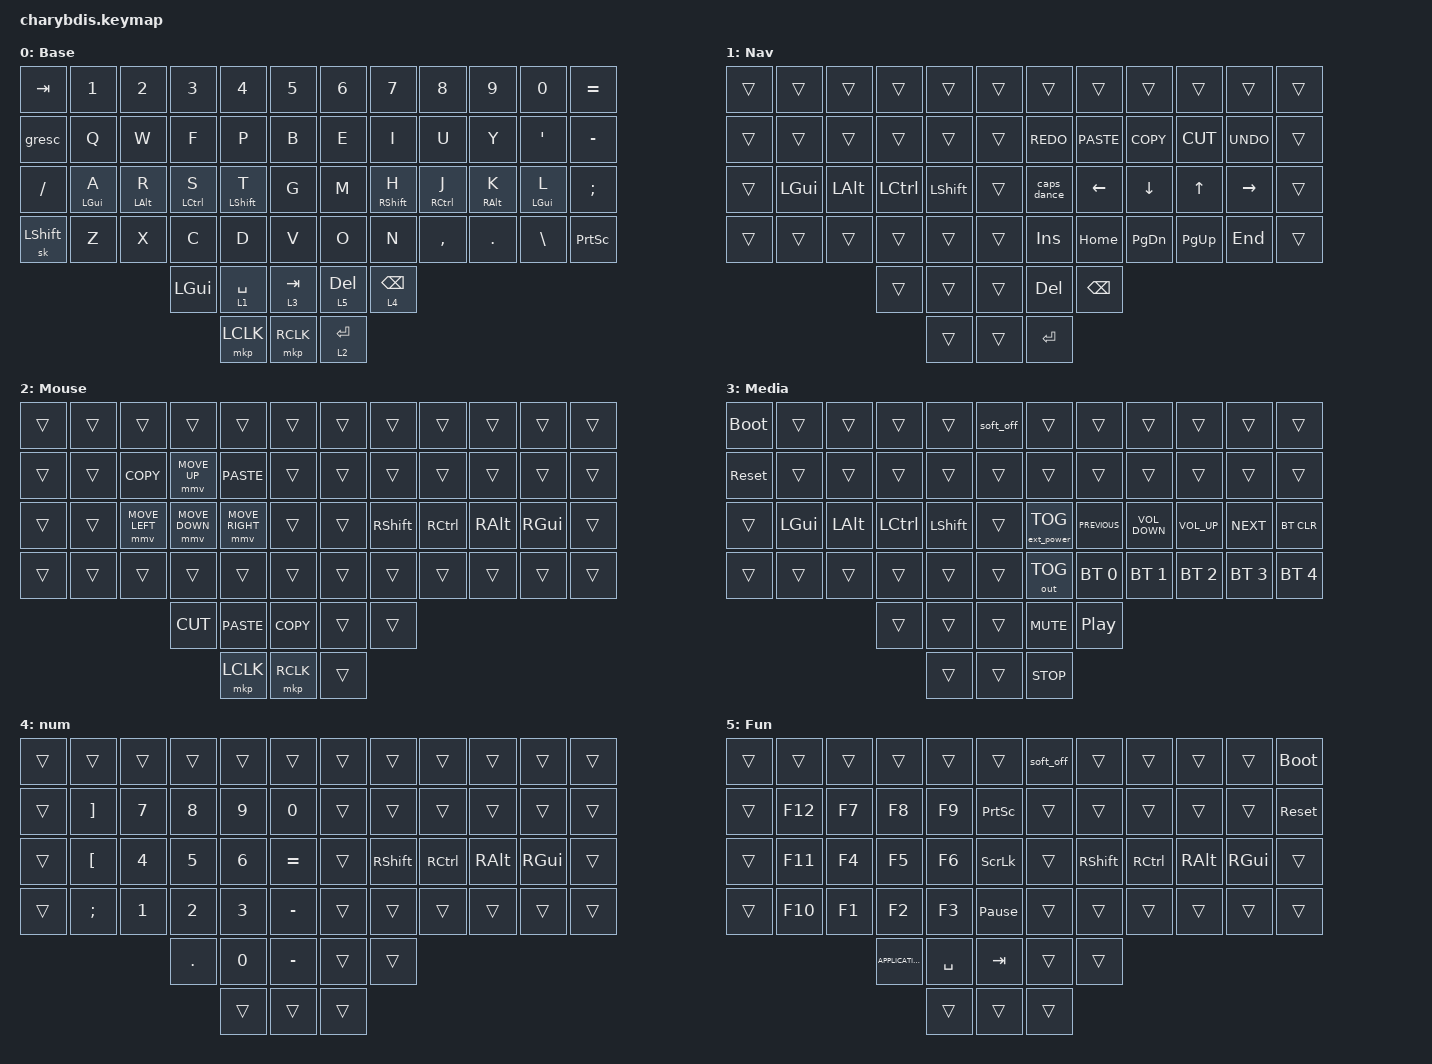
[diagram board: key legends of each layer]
#define ZMK_POINTING_DEFAULT_MOVE_VAL 900  // default: 600
#define ZMK_POINTING_DEFAULT_SCRL_VAL 20    // default: 10

#include <dt-bindings/zmk/mouse.h>
#include <behaviors/mouse_keys.dtsi>
#include <behaviors.dtsi>
#include <dt-bindings/zmk/bt.h>
#include <dt-bindings/zmk/ext_power.h>
#include <dt-bindings/zmk/keys.h>
#include <dt-bindings/zmk/outputs.h>
#include <dt-bindings/zmk/pointing.h>

/ {
    chosen { zmk,matrix_transform = &default_transform; };
};


&lt {
    quick-tap-ms = <175>;
    global-quick-tap;
    flavor = "hold-preferred";
    tapping-term-ms = <200>;
    require-prior-idle-ms=<150>;
};

&caps_word {
    continue-list = <UNDERSCORE MINUS BACKSPACE DELETE>;
};

/ {
    combos {
        compatible = "zmk,combos";

        combo_esc {
            timeout-ms = <50>;
            key-positions = <31 32>;
            bindings = <&kp ESC>;
            require-prior-idle-ms=<150>;
        };
    };

    behaviors {
        gresc: grave_escape {
            compatible = "zmk,behavior-mod-morph";
            #binding-cells = <0>;
            bindings = <&kp ESC>, <&kp GRAVE>;
            mods = <(MOD_LGUI|MOD_LSFT|MOD_RGUI|MOD_RSFT|MOD_LALT|MOD_RALT)>;
            keep-mods = <(MOD_LSFT|MOD_RSFT)>;
        };

        
		mtl: home_row_mod_left {
				compatible = "zmk,behavior-hold-tap";
                #binding-cells = <2>;
				tapping-term-ms = <280>;
				quick-tap-ms = <175>;
				global-quick-tap;
				flavor = "balanced";
				require-prior-idle-ms=<150>;
				hold-trigger-key-positions = <6 7 8 9 10 11 18 19 20 21 22 23 30 31 32 33 34 35 42 43 44 45 46 47 48 49 50 51 52>;
				hold-trigger-on-release;
                bindings = <&kp>, <&kp>;
		};
        
		mtr: home_row_mod_right {
				compatible = "zmk,behavior-hold-tap";
                #binding-cells = <2>;
				tapping-term-ms = <280>;
				quick-tap-ms = <175>;
				global-quick-tap;
				flavor = "balanced";
				require-prior-idle-ms=<150>;
				hold-trigger-key-positions = <0 1 2 3 4 5 12 13 14 15 16 17 24 25 26 27 28 29 36 37 38 39 40 41  47 48 49 50 51 52>;
				hold-trigger-on-release;
                bindings = <&kp>, <&kp>;
		};

        caps_dance: tap_dance_0 {
            compatible = "zmk,behavior-tap-dance";
            #binding-cells = <0>;
            tapping-term-ms = <180>;
            bindings = <&caps_word>, <&kp CAPSLOCK>;
        };
  };

    keymap {
        compatible = "zmk,keymap";

        Base {
            bindings = <
&kp TAB     &kp N1       &kp N2       &kp N3        &kp N4         &kp N5       &kp N6          &kp N7           &kp N8        &kp N9           &kp N0            &kp EQUAL
&gresc      &kp Q        &kp W        &kp F         &kp P          &kp B        &kp E           &kp I            &kp U         &kp Y            &kp SINGLE_QUOTE  &kp MINUS
&kp SLASH   &mtl LGUI A  &mtl LALT R  &mtl LCTRL S  &mtl LSHIFT T  &kp G        &kp M           &mtr RSHIFT H    &mtr RCTRL J  &mtr RALT K      &mtr LGUI L       &kp SEMI
&sk LSHIFT  &kp Z        &kp X        &kp C         &kp D          &kp V        &kp O           &kp N            &kp COMMA     &kp DOT          &kp BACKSLASH     &kp PRINTSCREEN
                                      &kp LGUI      &lt 1 SPACE    &lt 3 TAB    &lt 5 DELETE    &lt 4 BACKSPACE
                                                    &mkp LCLK      &mkp RCLK    &lt 2 ENTER
            >;
        };

        Nav {
            bindings = <
&trans  &trans    &trans    &trans     &trans     &trans    &trans      &trans       &trans      &trans     &trans      &trans
&trans  &trans    &trans    &trans     &trans     &trans    &kp K_REDO  &kp K_PASTE  &kp K_COPY  &kp K_CUT  &kp K_UNDO  &trans
&trans  &kp LGUI  &kp LALT  &kp LCTRL  &kp LSHFT  &trans    &caps_dance &kp LEFT     &kp DOWN    &kp UP     &kp RIGHT   &trans
&trans  &trans    &trans    &trans     &trans     &trans    &kp INSERT  &kp HOME     &kp PG_DN   &kp PG_UP  &kp END     &trans
                            &trans     &trans     &trans    &kp DEL     &kp BSPC
                                       &trans     &trans    &kp ENTER
            >;
        };

        Mouse {
            bindings = <
&trans  &trans  &trans          &trans           &trans             &trans          &trans      &trans          &trans          &trans           &trans           &trans
&trans  &trans  &kp K_COPY      &mmv MOVE_UP     &kp K_PASTE        &trans          &trans      &trans          &trans          &trans           &trans           &trans
&trans  &trans  &mmv MOVE_LEFT  &mmv MOVE_DOWN   &mmv MOVE_RIGHT    &trans          &trans      &kp RSHIFT      &kp RCTRL       &kp RALT         &kp RGUI         &trans
&trans  &trans  &trans          &trans           &trans             &trans          &trans      &trans          &trans          &trans           &trans           &trans
                                &kp K_CUT        &kp K_PASTE        &kp K_COPY      &trans      &trans
                                                 &mkp LCLK          &mkp RCLK       &trans
            >;
        };

        Media {
            bindings = <
&bootloader  &trans    &trans        &trans     &trans      &soft_off    &trans             &trans            &trans             &trans           &trans        &trans
&sys_reset   &trans    &trans        &trans     &trans      &trans       &trans             &trans            &trans             &trans           &trans        &trans
&trans       &kp LGUI  &kp LEFT_ALT  &kp LCTRL  &kp LSHIFT  &trans       &ext_power EP_TOG  &kp C_PREVIOUS    &kp C_VOLUME_DOWN  &kp C_VOLUME_UP  &kp C_NEXT    &bt BT_CLR
&trans       &trans    &trans        &trans     &trans      &trans       &out OUT_TOG       &bt BT_SEL 0      &bt BT_SEL 1       &bt BT_SEL 2     &bt BT_SEL 3  &bt BT_SEL 4
                                     &trans     &trans      &trans       &kp C_MUTE         &kp C_PLAY_PAUSE
                                                &trans      &trans       &kp C_STOP
            >;
        };

        num {
            bindings = <
&trans  &trans             &trans        &trans        &trans        &trans       &trans  &trans      &trans     &trans    &trans    &trans
&trans  &kp RIGHT_BRACKET  &kp N7        &kp N8        &kp N9        &kp N0       &trans  &trans      &trans     &trans    &trans    &trans
&trans  &kp LEFT_BRACKET   &kp NUMBER_4  &kp N5        &kp NUMBER_6  &kp EQUAL    &trans  &kp RSHIFT  &kp RCTRL  &kp RALT  &kp RGUI  &trans
&trans  &kp SEMI           &kp NUMBER_1  &kp NUMBER_2  &kp NUMBER_3  &kp MINUS    &trans  &trans      &trans     &trans    &trans    &trans
                                         &kp DOT       &kp N0        &kp MINUS    &trans  &trans
                                                       &trans        &trans       &trans
            >;
        };

        Fun {
            bindings = <
&trans  &trans   &trans  &trans             &trans     &trans             &soft_off  &trans      &trans     &trans    &trans    &bootloader
&trans  &kp F12  &kp F7  &kp F8             &kp F9     &kp PRINTSCREEN    &trans     &trans      &trans     &trans    &trans    &sys_reset
&trans  &kp F11  &kp F4  &kp F5             &kp F6     &kp SCROLLLOCK     &trans     &kp RSHIFT  &kp RCTRL  &kp RALT  &kp RGUI  &trans
&trans  &kp F10  &kp F1  &kp F2             &kp F3     &kp PAUSE_BREAK    &trans     &trans      &trans     &trans    &trans    &trans
                         &kp K_APPLICATION  &kp SPACE  &kp TAB            &trans     &trans
                                            &trans     &trans             &trans
            >;
        };
    };
};
